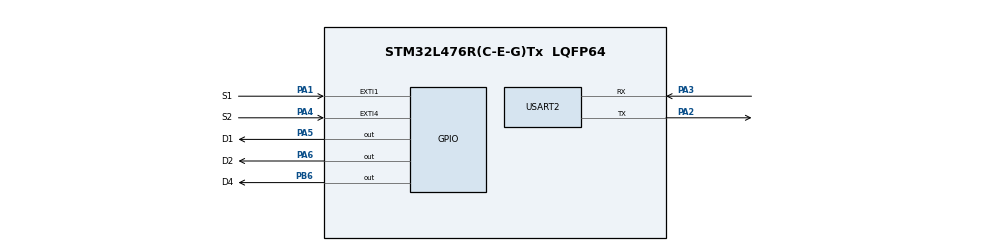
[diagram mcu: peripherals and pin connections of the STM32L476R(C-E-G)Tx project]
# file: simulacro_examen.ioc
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Mcu.Family=STM32L4
Mcu.Name=STM32L476R(C-E-G)Tx
Mcu.Package=LQFP64
NVIC.EXTI1_IRQn=true\:0\:0\:false\:false\:true\:true\:true\:true
NVIC.EXTI4_IRQn=true\:0\:0\:false\:false\:true\:true\:true\:true
NVIC.PriorityGroup=NVIC_PRIORITYGROUP_4
PA1.GPIO_Label=S1
PA1.Signal=GPXTI1
PA2.Mode=Asynchronous
PA2.Signal=USART2_TX
PA3.Mode=Asynchronous
PA3.Signal=USART2_RX
PA4.GPIO_Label=S2
PA4.Signal=GPXTI4
PA5.GPIO_Label=D1
PA5.PinState=GPIO_PIN_SET
PA5.Signal=GPIO_Output
PA6.GPIO_Label=D2
PA6.PinState=GPIO_PIN_SET
PA6.Signal=GPIO_Output
PB6.GPIO_Label=D4
PB6.PinState=GPIO_PIN_SET
PB6.Signal=GPIO_Output
ProjectManager.HeapSize=0x200
ProjectManager.StackSize=0x400
ProjectManager.TargetToolchain=STM32CubeIDE
RCC.ADCFreq_Value=16000000
RCC.AHBFreq_Value=4000000
RCC.APB1Freq_Value=4000000
RCC.APB1TimFreq_Value=4000000
RCC.APB2Freq_Value=4000000
RCC.APB2TimFreq_Value=4000000
RCC.CortexFreq_Value=4000000
RCC.HCLKFreq_Value=4000000
RCC.HSE_VALUE=8000000
RCC.HSI_VALUE=16000000
RCC.LSE_VALUE=32768
RCC.MSI_VALUE=4000000
RCC.SYSCLKFreq_VALUE=4000000
RCC.USBFreq_Value=16000000
RCC.VCOOutputFreq_Value=32000000
USART2.VirtualMode-Asynchronous=VM_ASYNC
board=custom

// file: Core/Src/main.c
/* USER CODE BEGIN Header */
/**
  ******************************************************************************
  * @file           : main.c
  * @brief          : Main program body
  ******************************************************************************
  * @attention
  *
  * Copyright (c) 2024 STMicroelectronics.
  * All rights reserved.
  *
  * This software is licensed under terms that can be found in the LICENSE file
  * in the root directory of this software component.
  * If no LICENSE file comes with this software, it is provided AS-IS.
  *
  ******************************************************************************
  */
/* USER CODE END Header */
#include "main.h"
#include <stdbool.h>

UART_HandleTypeDef huart2;
uint32_t last_press_time[2] = {0}; 	// Array que almacena el tiempo de A1 y A2

// Contadores para las veces que las direccionales van a parpadear
uint32_t cont_left = 0;
uint32_t cont_right = 0;

uint8_t index_pines = 0;

void SystemClock_Config(void);
static void MX_GPIO_Init(void);
static void MX_USART2_UART_Init(void);

/* USER CODE BEGIN 0 */
void HAL_GPIO_EXTI_Callback(uint16_t GPIO_Pin)
{
  /* Prevent unused argument(s) compilation warning */
  UNUSED(GPIO_Pin);

  uint32_t current_time = HAL_GetTick();	// Tiempo transcurrido de la última pulsación
  uint8_t index_btn;						// índice del botón preionado

  // Para identificar el botón presionado:
  if(GPIO_Pin == S1_Pin){
	  index_btn = 0;
	  index_pines = 0;
	  HAL_UART_Transmit(&huart2, "Se oprimió el botón A1\r\n",26,10);
  }else if(GPIO_Pin == S2_Pin){
	  index_btn = 1;
	  index_pines = 1;
	  HAL_UART_Transmit(&huart2, "Se oprimió el botón A2\r\n",26,10);
  }else{
	  HAL_UART_Transmit(&huart2, "NULL\r\n", 6,10);
	  return;
  }

  // Comprobamos el tiempo de la última pulsación:
  if(current_time - last_press_time[index_btn] > 250){
	  last_press_time[index_btn] = current_time; // Actualiza el tiempo

		  //Se encienden tres veces.
		  if(index_btn == 0){
			  cont_left = 6;
			  cont_right = 0; // Para parar el derecho cuando se presione el izquierdo
			  HAL_UART_Transmit(&huart2, "Se enciende el led IZQUIERDO\r\n", 30,10);
		  }else if(index_btn == 1){
			   cont_right = 6;
			   cont_left = 0; // Para parar el izquierdo cuando se presione el derecho
			  HAL_UART_Transmit(&huart2, "Se enciende el led DERECHO\r\n", 28,10);
		  }
	  }
}

// Configuración del hearbeat:
void heartbeat(void){
	static uint32_t tick = 0;
	if(tick < HAL_GetTick()){
		tick = HAL_GetTick() + 1000;
		HAL_GPIO_TogglePin(D4_GPIO_Port, D4_Pin);
	}
}

// Configuración del
void led_left(void){
	static uint32_t left_tick = 0;
	if(left_tick < HAL_GetTick()){
		if(cont_left > 0){
			left_tick =  HAL_GetTick() + 250;
			HAL_GPIO_TogglePin(D1_GPIO_Port, D1_Pin);
			cont_left--;
		}else{
		HAL_GPIO_WritePin(D1_GPIO_Port, D1_Pin, 1);
		}
	}
}

void led_right(void){
	static uint32_t right_tick = 0;
	if(right_tick < HAL_GetTick()){
		if(cont_right > 0){
			right_tick =  HAL_GetTick() + 250;
			HAL_GPIO_TogglePin(D2_GPIO_Port, D2_Pin);
			cont_right--;
		}else{
		HAL_GPIO_WritePin(D2_GPIO_Port, D2_Pin, 1);
		}
	}
}

/* USER CODE END 0 */

int main(void)
{

  /* MCU Configuration--------------------------------------------------------*/

  /* Reset of all peripherals, Initializes the Flash interface and the Systick. */
  HAL_Init();

  /* Configure the system clock */
  SystemClock_Config();

  /* Initialize all configured peripherals */
  MX_GPIO_Init();
  MX_USART2_UART_Init();

  /* Infinite loop */
  while (1)
  {
	  heartbeat();
	  if(index_pines == 0){
		  led_left();
	  }else{
		  led_right();
	  }

  }
}

void SystemClock_Config(void)
{
  RCC_OscInitTypeDef RCC_OscInitStruct = {0};
  RCC_ClkInitTypeDef RCC_ClkInitStruct = {0};

  /** Configure the main internal regulator output voltage
  */
  if (HAL_PWREx_ControlVoltageScaling(PWR_REGULATOR_VOLTAGE_SCALE1) != HAL_OK)
  {
    Error_Handler();
  }

  /** Initializes the RCC Oscillators according to the specified parameters
  * in the RCC_OscInitTypeDef structure.
  */
  RCC_OscInitStruct.OscillatorType = RCC_OSCILLATORTYPE_HSI;
  RCC_OscInitStruct.HSIState = RCC_HSI_ON;
  RCC_OscInitStruct.HSICalibrationValue = RCC_HSICALIBRATION_DEFAULT;
  RCC_OscInitStruct.PLL.PLLState = RCC_PLL_NONE;
  if (HAL_RCC_OscConfig(&RCC_OscInitStruct) != HAL_OK)
  {
    Error_Handler();
  }

  /** Initializes the CPU, AHB and APB buses clocks
  */
  RCC_ClkInitStruct.ClockType = RCC_CLOCKTYPE_HCLK|RCC_CLOCKTYPE_SYSCLK
                              |RCC_CLOCKTYPE_PCLK1|RCC_CLOCKTYPE_PCLK2;
  RCC_ClkInitStruct.SYSCLKSource = RCC_SYSCLKSOURCE_HSI;
  RCC_ClkInitStruct.AHBCLKDivider = RCC_SYSCLK_DIV1;
  RCC_ClkInitStruct.APB1CLKDivider = RCC_HCLK_DIV1;
  RCC_ClkInitStruct.APB2CLKDivider = RCC_HCLK_DIV1;

  if (HAL_RCC_ClockConfig(&RCC_ClkInitStruct, FLASH_LATENCY_0) != HAL_OK)
  {
    Error_Handler();
  }
}

static void MX_USART2_UART_Init(void)
{

  huart2.Instance = USART2;
  huart2.Init.BaudRate = 115200;
  huart2.Init.WordLength = UART_WORDLENGTH_8B;
  huart2.Init.StopBits = UART_STOPBITS_1;
  huart2.Init.Parity = UART_PARITY_NONE;
  huart2.Init.Mode = UART_MODE_TX_RX;
  huart2.Init.HwFlowCtl = UART_HWCONTROL_NONE;
  huart2.Init.OverSampling = UART_OVERSAMPLING_16;
  huart2.Init.OneBitSampling = UART_ONE_BIT_SAMPLE_DISABLE;
  huart2.AdvancedInit.AdvFeatureInit = UART_ADVFEATURE_NO_INIT;
  if (HAL_UART_Init(&huart2) != HAL_OK)
  {
    Error_Handler();
  }

}

static void MX_GPIO_Init(void)
{
  GPIO_InitTypeDef GPIO_InitStruct = {0};

  /* GPIO Ports Clock Enable */
  __HAL_RCC_GPIOA_CLK_ENABLE();
  __HAL_RCC_GPIOB_CLK_ENABLE();

  /*Configure GPIO pin Output Level */
  HAL_GPIO_WritePin(GPIOA, D1_Pin|D2_Pin, GPIO_PIN_SET);

  /*Configure GPIO pin Output Level */
  HAL_GPIO_WritePin(D4_GPIO_Port, D4_Pin, GPIO_PIN_SET);

  /*Configure GPIO pins : S1_Pin S2_Pin */
  GPIO_InitStruct.Pin = S1_Pin|S2_Pin;
  GPIO_InitStruct.Mode = GPIO_MODE_IT_RISING;
  GPIO_InitStruct.Pull = GPIO_NOPULL;
  HAL_GPIO_Init(GPIOA, &GPIO_InitStruct);

  /*Configure GPIO pins : D1_Pin D2_Pin */
  GPIO_InitStruct.Pin = D1_Pin|D2_Pin;
  GPIO_InitStruct.Mode = GPIO_MODE_OUTPUT_PP;
  GPIO_InitStruct.Pull = GPIO_NOPULL;
  GPIO_InitStruct.Speed = GPIO_SPEED_FREQ_LOW;
  HAL_GPIO_Init(GPIOA, &GPIO_InitStruct);

  /*Configure GPIO pin : D4_Pin */
  GPIO_InitStruct.Pin = D4_Pin;
  GPIO_InitStruct.Mode = GPIO_MODE_OUTPUT_PP;
  GPIO_InitStruct.Pull = GPIO_NOPULL;
  GPIO_InitStruct.Speed = GPIO_SPEED_FREQ_LOW;
  HAL_GPIO_Init(D4_GPIO_Port, &GPIO_InitStruct);

  /* EXTI interrupt init*/
  HAL_NVIC_SetPriority(EXTI1_IRQn, 0, 0);
  HAL_NVIC_EnableIRQ(EXTI1_IRQn);

  HAL_NVIC_SetPriority(EXTI4_IRQn, 0, 0);
  HAL_NVIC_EnableIRQ(EXTI4_IRQn);

}

void Error_Handler(void)
{
  __disable_irq();
  while (1)
  {
  }
}
